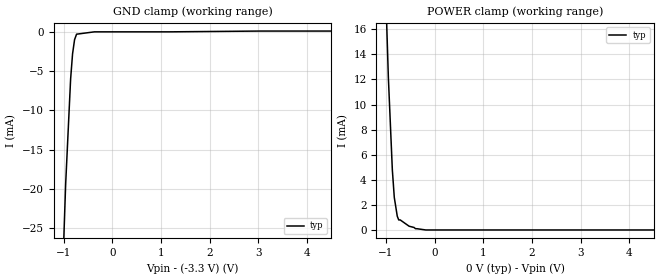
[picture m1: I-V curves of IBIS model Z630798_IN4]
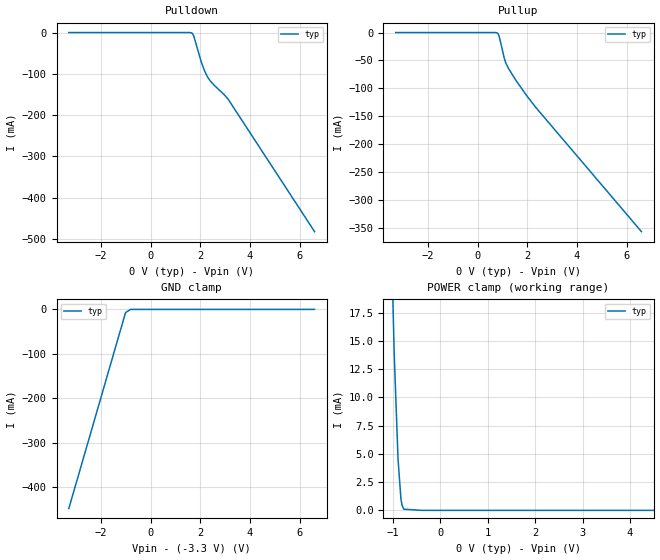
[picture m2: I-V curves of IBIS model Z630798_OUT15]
| YOU ARE ONLY AUTHORIZED TO USE THIS SOFTWARE
| ACCORDING TO LICENSOR'S LICENSE RESTRICTIONS.
[IBIS Ver] 3.1
[File Name] mc100ep17dt_-33.ibs
[File Rev] 2
[Source] Derived from mc10ep57dt_-33.ibs Measured and created by ICX Technology
[Date] 2/18/2004
[Copyright]
| (C) COPYRIGHT 1993-2000
| MENTOR GRAPHICS CORPORATION
| ICX STANDARD LIBRARY, ICX PROJECT MODELING,
| ICX CUSTOM MODELING, ICX VENDOR MODEL
| ALL RIGHTS RESERVED.
| THE FOLLOWING ARE TRADEMARKS OR SERVICE MARKS OF
| MENTOR GRAPHICS CORPORATION:ICX (R), ICX STANDARD
| LIBRARY(R), ICX PROJECT MODELING(R), ICX CUSTOM
| MODELING(R), qualityIBIS(TM), MODELVIEWER(TM),
| AND MODELEDITOR(TM)
| ALL COPIES OF SOFTWARE, INCLUDING BUT NOT LIMITED TO
| ANY MODIFICATIONS, ENHANCEMENTS OR DERIVATIVE WORKS,
| MUST CONTAIN ALL MENTOR GRAPHICS CORPORATION'S
| NOTICES AND LEGENDS, INCLUDING THOSE EMBEDDED IN
| SOFTWARE AND THOSE AFFIXED TO SOFTWARE MEDIUM
| AND CONTAINER, AS RECEIVED FROM MENTOR GRAPHICS
| CORPORATION.
|  ZAP Model Builder 2.8
[Component] MC100EP17DT_-33
[Manufacturer] ON
[Package]
| variable   typ   min   max
R_pkg  .18ohms NA NA
L_pkg  4.22nH NA NA
C_pkg  .41pF NA NA
[Pin] signal_name  model_name  R_pin  L_pin C_pin
1 VCC POWER .194 5.16n .43p
2 D0 Z630798_IN4 .185 4.57n .42p
3 _D0 Z630798_IN4 .185 4.57n .42p
4 D1 Z630798_IN4 .185 4.57n .42p
5 _D1 Z630798_IN4 .185 4.57n .42p
6 D2 Z630798_IN4 .185 4.57n .42p
7 _D2 Z630798_IN4 .185 4.57n .42p
8 D3 Z630798_IN4 .185 4.57n .42p
9 _D3 Z630798_IN4 .185 4.57n .42p
10 VBB POWER .177 3.98n .42p
11 VEE POWER .194 5.16n .43p
12 _Q3 Z630798_OUT15 .171 3.6n .37p
13 Q3 Z630798_OUT15 .171 3.6n .37p
14 _Q2 Z630798_OUT15 .171 3.6n .37p
15 Q2 Z630798_OUT15 .171 3.6n .37p
16 _Q1 Z630798_OUT15 .171 3.6n .37p
17 Q1 Z630798_OUT15 .171 3.6n .37p
18 _Q0 Z630798_OUT15 .171 3.6n .37p
19 Q0 Z630798_OUT15 .171 3.6n .37p
20 VCC POWER .194 5.16n .43p
[Diff Pin] inv_pin vdiff tdelay_typ tdelay_min tdelay_max
2 3 150mv NA NA NA
4 5 150mv NA NA NA
6 7 150mv NA NA NA
8 9 150mv NA NA NA
13 12 NA NA NA NA
15 14 NA NA NA NA
17 16 NA NA NA NA
19 18 NA NA NA NA
| Models and submodels in the file (2): Z630798_IN4 (Input_ECL), Z630798_OUT15 (Output_ECL)
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| (C) COPYRIGHT 1993-2000
| MENTOR GRAPHICS CORPORATION
| ICX STANDARD LIBRARY, ICX PROJECT MODELING,
| ICX CUSTOM MODELING, ICX VENDOR MODEL
| ALL RIGHTS RESERVED.
| THE FOLLOWING ARE TRADEMARKS OR SERVICE MARKS OF
| MENTOR GRAPHICS CORPORATION:ICX (R), ICX STANDARD
| LIBRARY(R), ICX PROJECT MODELING(R), ICX CUSTOM
| MODELING(R), qualityIBIS(TM), MODELVIEWER(TM),
| AND MODELEDITOR(TM)
| ALL COPIES OF SOFTWARE, INCLUDING BUT NOT LIMITED TO
| ANY MODIFICATIONS, ENHANCEMENTS OR DERIVATIVE WORKS,
| MUST CONTAIN ALL MENTOR GRAPHICS CORPORATION'S
| NOTICES AND LEGENDS, INCLUDING THOSE EMBEDDED IN
| SOFTWARE AND THOSE AFFIXED TO SOFTWARE MEDIUM
| AND CONTAINER, AS RECEIVED FROM MENTOR GRAPHICS
| CORPORATION.
| (C) COPYRIGHT 1993-2000
| MENTOR GRAPHICS CORPORATION
| ICX STANDARD LIBRARY, ICX PROJECT MODELING,
| ICX CUSTOM MODELING, ICX VENDOR MODEL
| ALL RIGHTS RESERVED.
| THE FOLLOWING ARE TRADEMARKS OR SERVICE MARKS OF
| MENTOR GRAPHICS CORPORATION:ICX (R), ICX STANDARD
| LIBRARY(R), ICX PROJECT MODELING(R), ICX CUSTOM
| MODELING(R), qualityIBIS(TM), MODELVIEWER(TM),
| AND MODELEDITOR(TM)
| ALL COPIES OF SOFTWARE, INCLUDING BUT NOT LIMITED TO
| ANY MODIFICATIONS, ENHANCEMENTS OR DERIVATIVE WORKS,
| MUST CONTAIN ALL MENTOR GRAPHICS CORPORATION'S
| NOTICES AND LEGENDS, INCLUDING THOSE EMBEDDED IN
| SOFTWARE AND THOSE AFFIXED TO SOFTWARE MEDIUM
| AND CONTAINER, AS RECEIVED FROM MENTOR GRAPHICS
| CORPORATION.
| Model Application Version 1.89 2/18/99.
[Model] Z630798_IN4
Model_type Input_ECL
Vinl = 1.755V
Vinh = 2.155V
C_comp 2.000pF NA NA
| variable typ   min   max
[Voltage Range] -3.300V NA NA
[GND Clamp Reference] -3.300V NA NA
[POWER Clamp Reference] 0.000V NA NA
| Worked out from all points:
|   GND clamp passes 1 mA (typ) near -0.77 V on its own axis
|   POWER clamp passes 1 mA (typ) near -0.76 V on its own axis
[GND Clamp]
-3.3V     -531.4mA   NA         NA
-1.078V   -41.5mA    NA         NA
-957mV    -19.4mA    NA         NA
-855mV    -6mA       NA         NA
-815mV    -2.8mA     NA         NA
-774mV    -1mA       NA         NA
-733mV    -300uA     NA         NA
-366.5mV  0A         NA         NA
1.182V    0A         NA         NA
3.037V    100uA      NA         NA
6.6V      100uA      NA         NA
[POWER Clamp]
-3.3V     369.6mA    NA         NA
-1.054V   24.8mA     NA         NA
-953mV    12.2mA     NA         NA
-871mV    4.8mA      NA         NA
-831mV    2.6mA      NA         NA
-770mV    1.1mA      NA         NA
-739.5mV  800uA      NA         NA
-709mV    800uA      NA         NA
-527mV    300uA      NA         NA
-395mV    100uA      NA         NA
-182.5mV  0A         NA         NA
6.6V      0A         NA         NA
| (C) COPYRIGHT 1993-2000
| MENTOR GRAPHICS CORPORATION
| ICX STANDARD LIBRARY, ICX PROJECT MODELING,
| ICX CUSTOM MODELING, ICX VENDOR MODEL
| ALL RIGHTS RESERVED.
| THE FOLLOWING ARE TRADEMARKS OR SERVICE MARKS OF
| MENTOR GRAPHICS CORPORATION:ICX (R), ICX STANDARD
| LIBRARY(R), ICX PROJECT MODELING(R), ICX CUSTOM
| MODELING(R), qualityIBIS(TM), MODELVIEWER(TM),
| AND MODELEDITOR(TM)
| ALL COPIES OF SOFTWARE, INCLUDING BUT NOT LIMITED TO
| ANY MODIFICATIONS, ENHANCEMENTS OR DERIVATIVE WORKS,
| MUST CONTAIN ALL MENTOR GRAPHICS CORPORATION'S
| NOTICES AND LEGENDS, INCLUDING THOSE EMBEDDED IN
| SOFTWARE AND THOSE AFFIXED TO SOFTWARE MEDIUM
| AND CONTAINER, AS RECEIVED FROM MENTOR GRAPHICS
| CORPORATION.
| Model Application Version 1.89 2/18/99.
[Model] Z630798_OUT15
Model_type Output_ECL
Vref=-2.00V
Rref=50.00ohms
Cref=0.000F
Vmeas=-1.345V
C_comp 2.000pF NA NA
| variable typ   min   max
[Voltage Range] -3.300V NA NA
[POWER Clamp Reference] 0.000V NA NA
[Pullup Reference] 0.000V NA NA
[Pulldown Reference] 0.000V NA NA
[GND Clamp Reference] -3.300V NA NA
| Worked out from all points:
|   GND clamp passes 1 mA (typ) near -0.84 V on its own axis
|   POWER clamp passes 1 mA (typ) near -0.83 V on its own axis
[GND Clamp]
-3.3V     -448.2mA   NA         NA
-1.014V   -7.007mA   NA         NA
-811.2mV  0A         NA         NA
6.6V      0A         NA         NA
[Pulldown]
-3.3V     0A         NA         NA
1.557V    0A         NA         NA
1.679V    -2.3mA     NA         NA
1.719V    -6.5mA     NA         NA
1.76V     -14.1mA    NA         NA
2.043V    -72.9mA    NA         NA
2.185V    -95.2mA    NA         NA
2.286V    -107.5mA   NA         NA
2.55V     -127.4mA   NA         NA
2.976V    -151.5mA   NA         NA
3.118V    -161.5mA   NA         NA
6.6V      -482.3mA   NA         NA
[Pullup]
-3.3V     0A         NA         NA
711mV     0A         NA         NA
771mV     -400uA     NA         NA
812mV     -1.5mA     NA         NA
873mV     -7.3mA     NA         NA
1.075V    -46.2mA    NA         NA
1.136V    -54.4mA    NA         NA
1.237V    -63.7mA    NA         NA
1.521V    -84.2mA    NA         NA
2.008V    -114.9mA   NA         NA
2.352V    -134.5mA   NA         NA
6.6V      -356.4mA   NA         NA
[POWER Clamp]
-3.3V     411.5mA    NA         NA
-972mV    13.8mA     NA         NA
-891mV    4.5mA      NA         NA
-830mV    1mA        NA         NA
-810mV    500uA      NA         NA
-769mV    100uA      NA         NA
-384.5mV  0A         NA         NA
6.6V      0A         NA         NA
[Ramp]
| variable typ min max
dV/dt_r 348.9m/82.84p NA NA
dV/dt_f 348.9m/94.91p NA NA
R_load = 50.00Ohms
